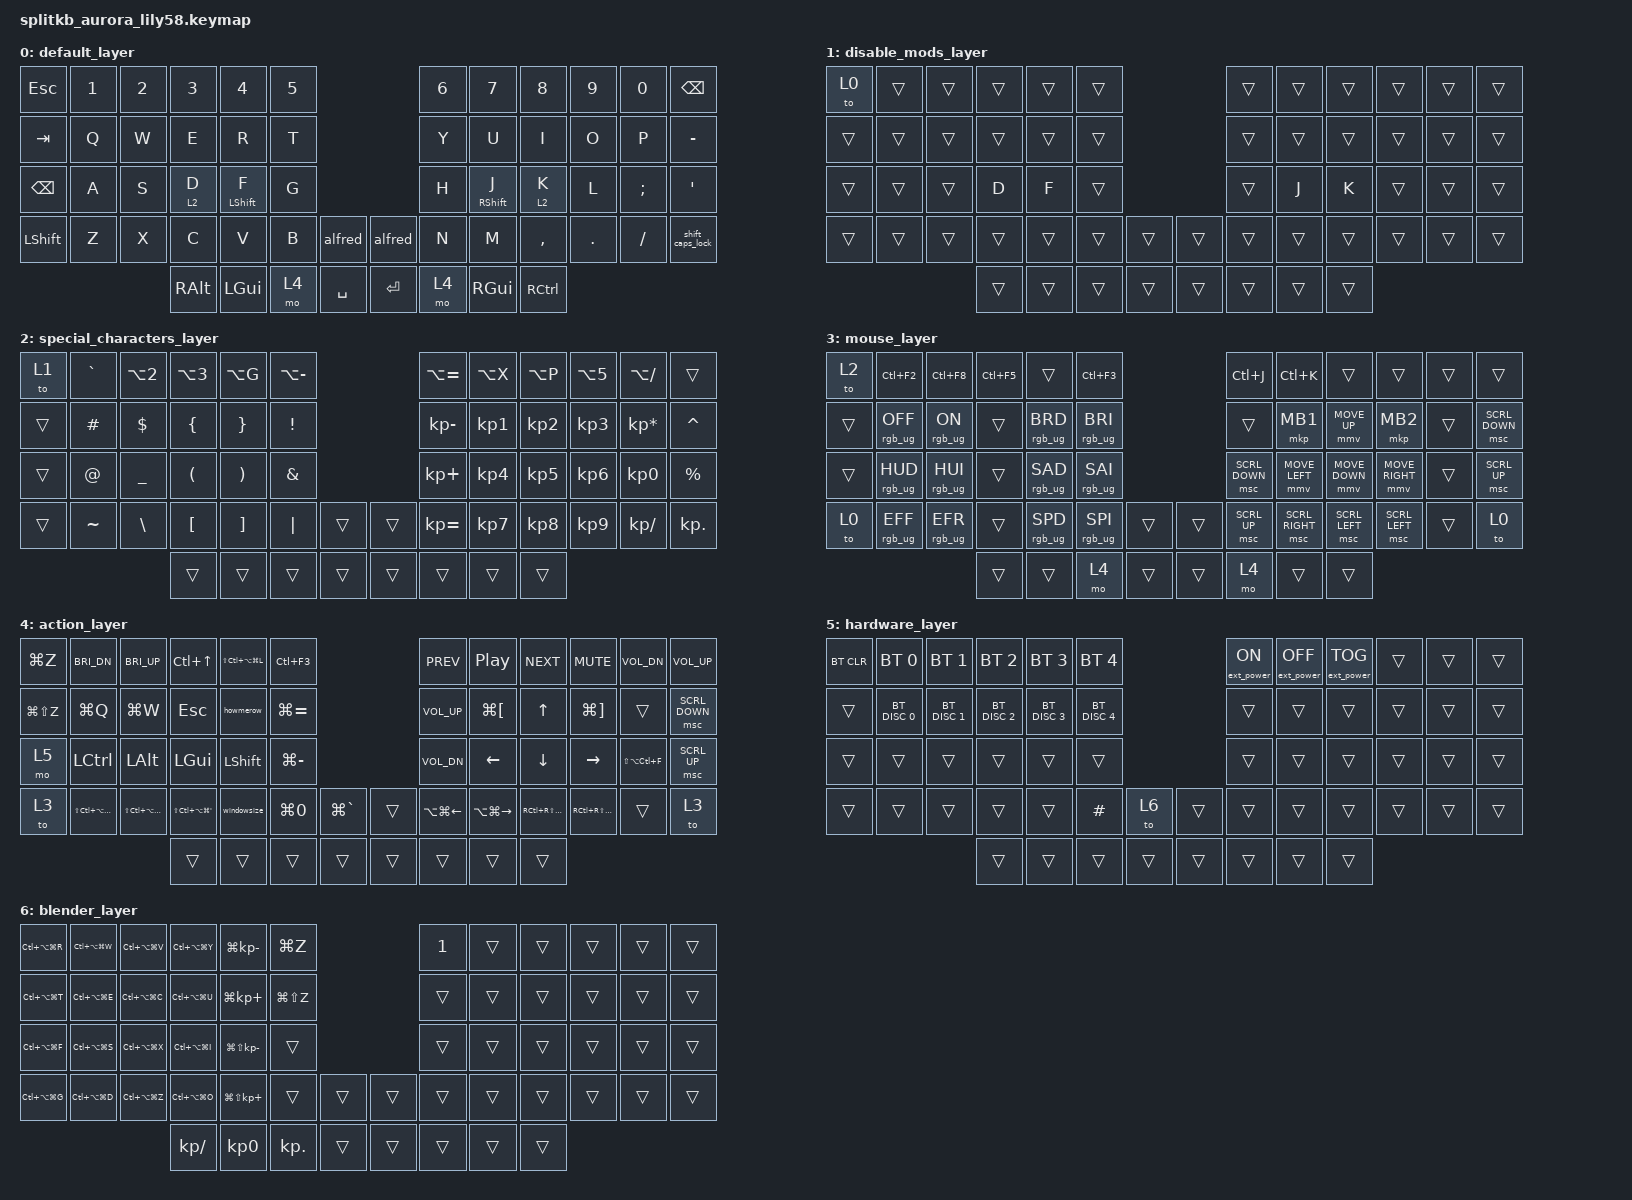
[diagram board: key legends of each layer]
/*
 * Copyright (c) 2022 The ZMK Contributors
 *
 * SPDX-License-Identifier: MIT
 */

#include <behaviors.dtsi>
#include <dt-bindings/zmk/bt.h>
#include <dt-bindings/zmk/ext_power.h>
#include <dt-bindings/zmk/keys.h>
#include <dt-bindings/zmk/rgb.h>

#include "mouse.dtsi"

// Defining Left and right hand keys (Lily58)
#define KEYS_L 0 1 2 3 4 5 12 13 14 15 16 17 24 25 26 27 28 29 36 37 38 39 40 41 50 51 52 53 42
#define KEYS_R 6 7 8 9 10 11 18 19 20 21 22 23 30 31 32 33 34 35 44 45 46 47 48 49 54 55 56 57 43

//  Key positions (for use in combo's etc...) 
//  0  1  2  3  4  5            6  7  8  9  10 11
//  12 13 14 15 16 17           18 19 20 21 22 23
//  24 25 26 27 28 29           30 31 32 33 34 35
//  36 37 38 39 40 41 42     43 44 45 46 47 48 49
//           50 51 52 53     54 55 56 57

&caps_word {
    continue-list = <UNDERSCORE MINUS BACKSPACE DELETE SPACE>;
};

/ {

    behaviors {
        // Left home row momentary layer change
        left_hand_LT: left_hand_LT {
            compatible = "zmk,behavior-hold-tap";
            label = "LEFT_HAND_LT";
            bindings = <&mo>, <&kp>;

            #binding-cells = <2>;
            hold-trigger-key-positions = <KEYS_R>;
            tapping-term-ms = <280>;
            hold-trigger-on-release;
            require-prior-idle-ms = <150>;
            flavor = "balanced";
            quick-tap-ms = <175>;
        };

        // Right home row momentary layer change
        right_hand_LT: right_hand_LT {
            compatible = "zmk,behavior-hold-tap";
            label = "RIGHT_HAND_LT";
            bindings = <&mo>, <&kp>;

            #binding-cells = <2>;
            tapping-term-ms = <280>;
            hold-trigger-key-positions = <KEYS_L>;
            quick-tap-ms = <175>;
            require-prior-idle-ms = <150>;
            flavor = "balanced";
            hold-trigger-on-release;
        };

        // Left home row shift
        left_hand_MT: left_hand_MT {
            compatible = "zmk,behavior-hold-tap";
            label = "LEFT_HAND_MT";
            bindings = <&kp>, <&kp>;

            #binding-cells = <2>;
            hold-trigger-key-positions = <KEYS_R>;
            tapping-term-ms = <280>;
            hold-trigger-on-release;
            require-prior-idle-ms = <150>;
            flavor = "balanced";
            quick-tap-ms = <175>;
        };

        // Right home row shift
        right_hand_MT: right_hand_MT {
            compatible = "zmk,behavior-hold-tap";
            label = "RIGHT_HAND_MT";
            bindings = <&kp>, <&kp>;

            #binding-cells = <2>;
            tapping-term-ms = <280>;
            hold-trigger-key-positions = <KEYS_L>;
            quick-tap-ms = <175>;
            require-prior-idle-ms = <150>;
            flavor = "balanced";
            hold-trigger-on-release;
        };

        // Shift/Caps lock (word) tap dance
        shift_caps_lock: shift_caps_lock {
            compatible = "zmk,behavior-tap-dance";
            #binding-cells = <0>;
            tapping-term-ms = <250>;
            bindings = <&kp RSHFT>, <&caps_word>;
        };

    };

    combos {
        compatible = "zmk,combos";
        
        // Open apps with alfred
        combo_meh_left {
            bindings = <&kp LS(LA(LEFT_CONTROL))>;
            key-positions = <52 51 50>;
        };
        // Open apps with alfred
        combo_meh_right {
            bindings = <&kp LS(LA(LEFT_CONTROL))>;
            key-positions = <55 56 57>;
        };
        combo_meh_action_keys {
            bindings = <&kp LS(LA(LEFT_CONTROL))>;
            key-positions = <52 55>;
        };
        combo_escape_to_default_layer {
            bindings = <&to 0>;
            key-positions = <36 0>;
        };
    };


    macros {
        // Press tab five times to focus web elements quickly
        five_tabs: five_tabs {
            compatible = "zmk,behavior-macro";
            #binding-cells = <0>;
            bindings
                = <&macro_press &kp TAB>
                , <&macro_release &kp TAB>
                ,<&macro_press &kp TAB>
                , <&macro_release &kp TAB>
                ,<&macro_press &kp TAB>
                , <&macro_release &kp TAB>
                ,<&macro_press &kp TAB>
                , <&macro_release &kp TAB>
                ,<&macro_press &kp TAB>
                , <&macro_release &kp TAB>
                ;
        };
        // Press tab five times to focus web elements quickly
        minus_five_tabs: minus_five_tabs {
            compatible = "zmk,behavior-macro";
            #binding-cells = <0>;
            bindings
                = <&macro_press &kp LSHFT> 
                ,<&macro_press &kp TAB>
                , <&macro_release &kp TAB>
                ,<&macro_press &kp TAB>
                , <&macro_release &kp TAB>
                ,<&macro_press &kp TAB>
                , <&macro_release &kp TAB>
                ,<&macro_press &kp TAB>
                , <&macro_release &kp TAB>
                ,<&macro_press &kp TAB>
                , <&macro_release &kp TAB>
                , <&macro_release &kp LSHFT>
                ;
        };
        // Switch to layer 0 before using Homerow app
        howmerow: howmerow {
            compatible = "zmk,behavior-macro";
            #binding-cells = <0>;
            bindings
                = <&macro_press &to 0>
                , <&macro_release &to 0>
                ,<&macro_press &kp ESC>
                , <&macro_release &kp ESC>
                ,<&macro_press &kp LS(LC(LA(LG(R))))>
                , <&macro_release &kp LS(LC(LA(LG(R))))>
                ;
        };
        // Switch to layer 0 before using Alfred app
        alfred: alfred {
            compatible = "zmk,behavior-macro";
            #binding-cells = <0>;
            bindings
                = <&macro_press &to 0>
                , <&macro_release &to 0>
                ,<&macro_press &kp LA(SPACE)>
                , <&macro_release &kp LA(SPACE)>
                ;
        };

        // Set window to specific size (1400 x 1080) and move to center
        // Mac Shortcuts app is used to resize and move windows
        // Alfred is used to fire the Shortcuts
        windowsize: windowsize {
            compatible = "zmk,behavior-macro";
            #binding-cells = <0>;
            wait-ms = <150>;
            bindings
                = <&macro_press &kp LS(LA(LC(U)))>
                , <&macro_release &kp LS(LA(LC(U)))>
                ,<&macro_press &kp LS(LA(LC(Y)))>
                , <&macro_release &kp LS(LA(LC(Y)))>
                ,<&macro_press &kp LS(LA(LC(I)))>
                , <&macro_release &kp LS(LA(LC(I)))>
                ;
        };
    };


    keymap {
        compatible = "zmk,keymap";

        // Layer (0). Default layer with minimal home row mods

        // Hold f or j to activate shift
        // Hold d or k to momentary activate the special characters layer (2)
        // Momentary activate the action (4) and mouse (3) layers from this layer
        // Hit escape to get back to this layer (if you've toggled to another layer)
        default_layer {
            // ╭──────────────────────────────────────────────────────────╮                     ╭────────────────────────────────────────────────────────────────────╮
            // │ ESC   │  1  │  2  │  3           │  4         │  5       │                     │  6      │  7          │  8           │  9  │  0  │ BKSPC           │
            // │ TAB   │  Q  │  W  │  E           │  R         │  T       │                     │  Y      │  U          │  I           │  O  │  P  │   -             │
            // │ BKSPC │  A  │  S  │  D / Layer 2 │  F / SHIFT │  G       ╰─────────╮  ╭────────╯  H      │  J  / SHIFT │  K / Layer 2 │  L  │  ;  │   '             │
            // │ SHIFT │  Z  │  X  │  C           │  V         │  B       │ Alfred  │  │ Alfred │  N      │  M          │  ,           │  .  │  /  │ SHIFT/CAPS LOCK │
            // ╰───────────────────╮  ALT         │  GUI       │  Layer 4 │ SPACE   │  │ ENTER  │  Layer4 │  GUI        │  CTRL        ╭─────────────────────────────╯
            //                     ╰────────────────────────────────────────────────╯  ╰───────────────────────────────────────────────╯

            bindings = <
&kp ESC        &kp N1  &kp N2  &kp N3             &kp N4                      &kp N5                          &kp N6  &kp N7                        &kp N8              &kp N9   &kp N0    &kp BSPC
&kp TAB        &kp Q   &kp W   &kp E              &kp R                       &kp T                           &kp Y   &kp U                         &kp I               &kp O    &kp P     &kp MINUS
&kp BACKSPACE  &kp A   &kp S   &left_hand_LT 2 D  &left_hand_MT LEFT_SHIFT F  &kp G                           &kp H   &right_hand_MT RIGHT_SHIFT J  &right_hand_LT 2 K  &kp L    &kp SEMI  &kp SQT
&kp LSHFT      &kp Z   &kp X   &kp C              &kp V                       &kp B   &alfred      &alfred    &kp N   &kp M                         &kp COMMA           &kp DOT  &kp FSLH  &shift_caps_lock
                               &kp RALT           &kp LGUI                    &mo 4   &kp SPACE    &kp ENTER  &mo 4   &kp RGUI                      &kp RCTRL
            >;
        };

        // Layer (1). Disable home row mods for testing
        // To get to this layer toggle the mouse layer (3) and hit escape until you're on this layer
        disable_mods_layer {
            // ╭────────────────────────────────────╮              ╭───────────────────────────────────╮
            // │  L0  │     │     │     │     │     │              │     │     │     │     │     │     │
            // │      │     │     │     │     │     │              │     │     │     │     │     │     │
            // │      │     │     │  D  │  F  │     ╰─────╮  ╭─────╯     │  J  │  K  │     │     │     │
            // │      │     │     │     │     │     │     │  │     │     │     │     │     │     │     │
            // ╰──────────────────╮     │     │     │     │  │     │     │     │     ╭─────────────────╯
            //                    ╰───────────────────────╯  ╰───────────────────────╯

            bindings = <
&to  0  &trans  &trans  &trans  &trans  &trans                        &trans  &trans  &trans  &trans  &trans  &trans
&trans  &trans  &trans  &trans  &trans  &trans                        &trans  &trans  &trans  &trans  &trans  &trans
&trans  &trans  &trans  &kp D   &kp F   &trans                        &trans  &kp J   &kp K  &trans  &trans  &trans
&trans  &trans  &trans  &trans  &trans  &trans    &trans    &trans    &trans  &trans  &trans  &trans  &trans  &trans
                        &trans  &trans  &trans    &trans    &trans    &trans  &trans  &trans
            >;
        };

        // Layer (2). Special characters layer
        // To get to this layer use the home row mods or toggle the mouse layer (3) and hit escape until you're on this layer
        special_characters_layer {
            // ╭────────────────────────────────────╮              ╭───────────────────────────────────╮
            // │  L1  │  `  │  €  │  £  │  ©  │  –  │              │  ≠  │  ≈  │  π  │  ∞  │  ÷  │     │
            // │      │  #  │  $  │  {  │  }  │  !  │              │  -  │  1  │  2  │  3  │  *  │  ^  │
            // │      │  @  │  _  │  (  │  )  │  &  ╰─────╮  ╭─────╯  +  │  4  │  5  │  6  │  0  │  %  │
            // │      │  ~  │  \  │  [  │  ]  │  |  │     │  │     │  =  │  7  │  8  │  9  │  /  │  .  │
            // ╰──────────────────╮     │     │     │     │  │     │     │     │     ╭─────────────────╯
            //                    ╰───────────────────────╯  ╰───────────────────────╯

            bindings = <
&to 1   &kp GRAVE  &kp LA(N2)  &kp LA(N3)  &kp LA(G)  &kp LA(MINUS)                    &kp LA(EQUAL)  &kp LA(X)  &kp LA(P)  &kp LA(N5)  &kp LA(SLASH)    &trans
&trans  &kp HASH   &kp DOLLAR  &kp LBRC    &kp RBRC   &kp EXCL                         &kp KP_MINUS   &kp KP_N1  &kp KP_N2  &kp KP_N3   &kp KP_MULTIPLY  &kp CARET
&trans  &kp AT     &kp UNDER   &kp LPAR    &kp RPAR   &kp AMPS                         &kp KP_PLUS    &kp KP_N4  &kp KP_N5  &kp KP_N6   &kp KP_N0        &kp PRCNT
&trans  &kp TILDE  &kp BSLH    &kp LBKT    &kp RBKT   &kp PIPE       &trans    &trans  &kp KP_EQUAL   &kp KP_N7  &kp KP_N8  &kp KP_N9   &kp KP_SLASH     &kp KP_DOT
                               &trans      &trans     &trans         &trans    &trans  &trans         &trans     &trans
            >;
        };

        // Layer (3). Mouse and scroll movements
        // To toggle the mouse layer, momentary activate the action layer (4) and hit shift at the same time
        mouse_layer {
            // ╭────────────────────────────────────────────────────────────────────────────────────────────────────────╮              ╭─────────────────────────────────────────────────────────────╮
            // │  L2       │ focus menu bar │ focus status │ focus window toolbar │                  │ focus dock       │              │ web prev │ web next │          │          │     │           │
            // │           │ rgb on         │ rgb off      │                      │ rgb brightness - │ rgb brightness + │              │          │  L click │ mouse ^  │ R click  │     │ scroll ^  │
            // │           │ rgb hui -      │ rgb hui +    │                      │ rgb saturation - │ rgb saturation + ╰─────╮  ╭─────╯ scroll ^ │  < mouse │ mouse v  │ mouse >  │     │ scroll v  │
            // │ toggle L0 │ rgb eff -      │ rgb eff -    │                      │ rgb speed -      │ rgb speed +      │     │  │     │ scroll v │ < scroll │ scroll > │ scroll > │     │ toggle L0 │
            // ╰───────────────────────────────────────────╮                      │                  │ L4               │     │  │     │ L4       │          │          ╭────────────────────────────╯
            //                                             ╰──────────────────────────────────────────────────────────────────╯  ╰──────────────────────────────────────╯

            bindings = <
&to 2   &kp LC(F2)        &kp LC(F8)       &kp LC(F5)  &trans           &kp LC(F3)                         &kp LC(J)       &kp LC(K)       &trans           &trans           &trans    &trans
&trans  &rgb_ug  RGB_OFF  &rgb_ug RGB_ON   &trans      &rgb_ug RGB_BRD  &rgb_ug RGB_BRI                    &trans          &mkp MB1        &mmv MOVE_UP     &mkp MB2         &trans    &msc SCRL_DOWN
&trans  &rgb_ug  RGB_HUD  &rgb_ug RGB_HUI  &trans      &rgb_ug RGB_SAD  &rgb_ug RGB_SAI                    &msc SCRL_DOWN  &mmv MOVE_LEFT  &mmv MOVE_DOWN   &mmv MOVE_RIGHT  &trans    &msc SCRL_UP
&to 0   &rgb_ug  RGB_EFF  &rgb_ug RGB_EFR  &trans      &rgb_ug RGB_SPD  &rgb_ug RGB_SPI  &trans    &trans  &msc SCRL_UP    &msc SCRL_RIGHT &msc SCRL_LEFT   &msc SCRL_LEFT   &trans    &to 0
                                           &trans      &trans           &mo 4            &trans    &trans  &mo 4           &trans          &trans
            >;
        };

    // Layer (4). Action layer
    action_layer {
            // ╭───────────────────────────────────────────────────────────────────────────────────╮                ╭────────────────────────────────────────────────────────────────╮
            // │ undo      │ brightness + │ brightness - │ mission ctrl │ launchpad │ focus dock   │                │ prev  │ pause/play │   next   │ mute     │ vol -   │ vol +     │
            // │ redo      │ cmd Q        │ cmd W        │ esc          │ hypr R    │ zoom +       │                │ vol + │     < hist │     ^    │ hist >   │         │ scroll ^  │
            // │ L5        │ control      │ alt          │ L gui        │ L shft    │ zoom -       ╰───────╮  ╭─────╯ vol - │          < │     v    │ >        │ Finder  │ scroll v  │
            // │ toggle L3 │ < window     │ window >     │ wndw full    │ wndw cntr │ zoom 0       │ cmd ~ │  │     │ < tab │ tab >      │ < mv tab │ mv tab > │         │ toggle L3 │
            // ╰─────────────────────────────────────────╮              │           │              │       │  │     │       │            │          ╭────────────────────────────────╯
            //                                           ╰─────────────────────────────────────────────────╯  ╰─────────────────────────────────────╯

            bindings = <
&kp LG(Z)      &kp C_BRI_DN              &kp C_BRI_UP               &kp LC(UP)               &kp LS(LC(LA(LG(L))))  &kp LC(F3)                             &kp C_PREV        &kp C_PP           &kp C_NEXT         &kp C_MUTE         &kp C_VOL_DN       &kp C_VOL_UP
&kp LG(LS(Z))  &kp LG(Q)                 &kp LG(W)                  &kp ESCAPE               &howmerow              &kp LG(EQUAL)                          &kp C_VOL_UP      &kp LG(LBKT)       &kp UP             &kp LG(RBKT)       &trans             &msc SCRL_DOWN
&mo 5          &kp LCTRL                 &kp LALT                   &kp LGUI                 &kp LSHFT              &kp LG(MINUS)                          &kp C_VOL_DN      &kp LEFT           &kp DOWN           &kp RIGHT          &kp LS(LA(LC(F)))  &msc SCRL_UP
&to 3          &kp LS(LC(LA(LG(LEFT))))  &kp LS(LC(LA(LG(RIGHT))))  &kp LS(LC(LA(LG(SQT))))  &windowsize            &kp LG(N0)     &kp LG(GRAVE)   &trans  &kp LA(LG(LEFT))  &kp LA(LG(RIGHT))  &kp RC(RS(PG_UP))  &kp RC(RS(PG_DN))  &trans             &to 3
                                                                    &trans                   &trans                 &trans         &trans          &trans  &trans            &trans             &trans
            >;
        };

        // Layer (5). Connect and Disconnect bluetooth profiles
        // To get to this layer, momentary activate the action layer (4) and hit the backspace key on the left half of the keyboard
        hardware_layer {
            // ╭───────────────────────────────────────────────────────────────────────────────────╮              ╭─────────────────────────────────────────────────────────────╮
            // │ BT CLR │ conn BT 1    │ conn BT 2    │ conn BT 3    │ conn BT 4    │ conn BT 5    │              │ vcc pwr on │ vcc pwr off │ vcc pwr toggle │     │     │     │
            // │        │ disconn BT 1 │ disconn BT 2 │ disconn BT 3 │ disconn BT 4 │ disconn BT 5 │              │            │             │                │     │     │     │
            // │        │              │              │              │              │              ╰─────╮  ╭─────╯            │             │                │     │     │     │
            // │        │              │              │              │              │              │ L6  │  │     │            │             │                │     │     │     │
            // ╰──────────────────────────────────────╮              │              │              │     │  │     │            │             │                ╭─────────────────╯
            //                                        ╰──────────────────────────────────────────────────╯  ╰─────────────────────────────────────────────────╯

            bindings = <
&bt BT_CLR  &bt BT_SEL 0   &bt BT_SEL 1   &bt BT_SEL 2   &bt BT_SEL 3   &bt BT_SEL 4                    &ext_power EP_ON  &ext_power EP_OFF  &ext_power EP_TOG  &trans  &trans  &trans
&trans      &bt BT_DISC 0  &bt BT_DISC 1  &bt BT_DISC 2  &bt BT_DISC 3  &bt BT_DISC 4                   &trans            &trans             &trans             &trans  &trans  &trans
&trans      &trans         &trans         &trans         &trans         &trans                          &trans            &trans             &trans             &trans  &trans  &trans
&trans      &trans         &trans         &trans         &trans         &kp HASH      &to 6     &trans  &trans            &trans             &trans             &trans  &trans  &trans
                                          &trans         &trans         &trans        &trans    &trans  &trans            &trans             &trans
            >;
        };
        // Layer (6). Blender
        // To get out of this layer press shift and escape together
        blender_layer {
            // ╭──────────────────────────────────────────────────╮                   ╭───────────────────────────────────╮
            // │ ESC   │  1   │  2     │  3      │  np -  │ np +  │                   │     │     │     │     │     │     │
            // │ TAB   │  Q   │  np 1  │  np 2   │  np 3  │ np .  │                   │     │     │     │     │     │     │
            // │ CTRL  │ LGUI │  np 4  │  SHIFT  │  np 6  │ np 0  ╰──────────╮  ╭─────╯     │     │     │     │     │     │
            // │ SHIFT │  Z   │  np 7  │  np 8   │  np 9  │ np /  │ SHIFT S  │  │     │     │     │     │     │     │     │
            // ╰───────────────────────╮  ALT    │        │ TAB   │ LGUI     │  │     │     │     │     ╭─────────────────╯
            //                         ╰─────────────────────────────────────╯  ╰───────────────────────╯

            bindings = <
&kp LC(LA(LG(R)))  &kp LC(LA(LG(W)))  &kp LC(LA(LG(V)))  &kp LC(LA(LG(Y)))  &kp LG(KP_MINUS)  &kp LG(Z)                           &kp N1  &trans  &trans  &trans  &trans  &trans
&kp LC(LA(LG(T)))  &kp LC(LA(LG(E)))  &kp LC(LA(LG(C)))  &kp LC(LA(LG(U)))  &kp LG(KP_PLUS)   &kp LG(LS(Z))                       &trans  &trans  &trans  &trans  &trans  &trans
&kp LC(LA(LG(F)))  &kp LC(LA(LG(S)))  &kp LC(LA(LG(X)))  &kp LC(LA(LG(I)))  &kp LG(LS(KP_MINUS))            &trans                              &trans  &trans  &trans  &trans  &trans  &trans
&kp LC(LA(LG(G)))  &kp LC(LA(LG(D)))  &kp LC(LA(LG(Z)))  &kp LC(LA(LG(O)))  &kp LG(LS(KP_PLUS))            &trans         &trans       &trans  &trans  &trans  &trans  &trans  &trans  &trans
                                                         &kp KP_SLASH       &kp KP_N0         &kp KP_DOT     &trans       &trans  &trans  &trans  &trans
            >;
        };
    };
};

// Empty for copy paste
// ╭───────────────────────────────────╮              ╭───────────────────────────────────╮
// │     │     │     │     │     │     │              │     │     │     │     │     │     │
// │     │     │     │     │     │     │              │     │     │     │     │     │     │
// │     │     │     │     │     │     ╰─────╮  ╭─────╯     │     │     │     │     │     │
// │     │     │     │     │     │     │     │  │     │     │     │     │     │     │     │
// ╰─────────────────╮     │     │     │     │  │     │     │     │     ╭─────────────────╯
//                   ╰───────────────────────╯  ╰───────────────────────╯
